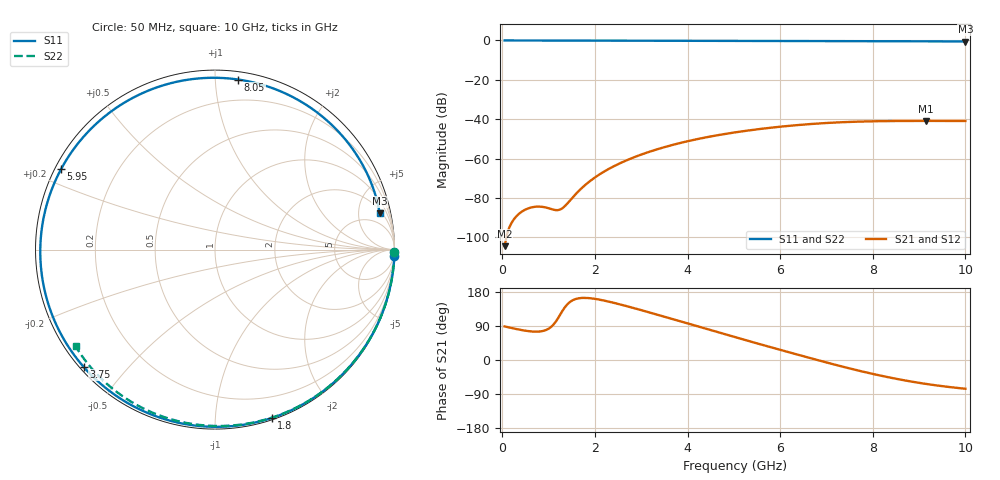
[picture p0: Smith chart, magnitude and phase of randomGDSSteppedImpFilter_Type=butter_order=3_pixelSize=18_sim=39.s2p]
! freq	dB(S11)	phase(S11)	dB(S12)	phase(S12)
!  dB(S21)	phase(S21)	dB(S22)	phase(S22)
!S-par simulation data
#  GHz  S  DB  R 50
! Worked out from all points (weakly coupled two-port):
!   200 points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, 50 MHz to 10 GHz, reference 50 ohm
!   highest |S21| = -40.87 dB at 9.15 GHz (marker M1); lowest = -104.5 dB at 50 MHz (marker M2)
!   lowest |S11| = -0.5 dB at 10 GHz (marker M3), VSWR 32.29, Z = 121 + j423 ohm
!   |S11| at or under -10 dB: nowhere
!   |S22| runs from -0.5 to 0.0 dB; largest |S21 - S12| = 0
!   S11 on the Smith chart (normalised r, x): 50 MHz: 0, -55; 1.8 GHz: 0.01, -1.39; 3.75 GHz: 0.01, -0.38; 5.95 GHz: 0.02, +0.24; 8.05 GHz: 0.05, +1.14; 10 GHz: 2.42, +8.45
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0.05  -0.00 -2.1  -104.51 88.6  -104.51 88.6  -0.00 -0.8
0.7  -0.04 -28.6  -84.52 74.8  -84.52 74.8  -0.02 -11.7
1.1  -0.06 -44.5  -85.93 92.8  -85.93 92.8  -0.02 -18.4
1.5  -0.07 -60.0  -80.29 156.4  -80.29 156.4  -0.03 -25.0
1.75  -0.09 -69.5  -74.26 163.9  -74.26 163.9  -0.04 -29.1
1.8  -0.09 -71.3  -73.23 163.9  -73.23 163.9  -0.04 -29.9
2.1  -0.10 -82.4  -68.04 159.2  -68.04 159.2  -0.04 -34.7
2.45  -0.11 -94.8  -63.42 149.6  -63.42 149.6  -0.05 -40.3
2.9  -0.13 -110.3  -58.85 135.0  -58.85 135.0  -0.06 -47.4
3.4  -0.15 -127.0  -54.89 117.7  -54.89 117.7  -0.07 -55.2
3.75  -0.17 -138.3  -52.63 105.4  -52.63 105.4  -0.08 -60.5
4.4  -0.20 -158.9  -49.22 82.2  -49.22 82.2  -0.10 -70.2
5.05  -0.23 -179.2  -46.62 59.4  -46.62 59.4  -0.12 -79.7
5.5  -0.26 166.7  -45.16 43.9  -45.16 43.9  -0.14 -86.0
5.95  -0.28 152.5  -43.94 28.5  -43.94 28.5  -0.16 -92.3
6.7  -0.33 128.1  -42.39 3.4  -42.39 3.4  -0.20 -102.5
7.4  -0.36 104.7  -41.47 -19.2  -41.47 -19.2  -0.24 -111.8
8.05  -0.39 82.2  -41.05 -38.1  -41.05 -38.1  -0.29 -120.2
8.35  -0.40 71.7  -40.95 -45.9  -40.95 -45.9  -0.32 -124.1
9.15  -0.43 43.4  -40.87 -63.1  -40.87 -63.1  -0.39 -134.3
9.6  -0.47 27.3  -40.88 -70.5  -40.88 -70.5  -0.44 -140.1
10  -0.54 12.5  -40.91 -75.8  -40.91 -75.8  -0.49 -145.2
